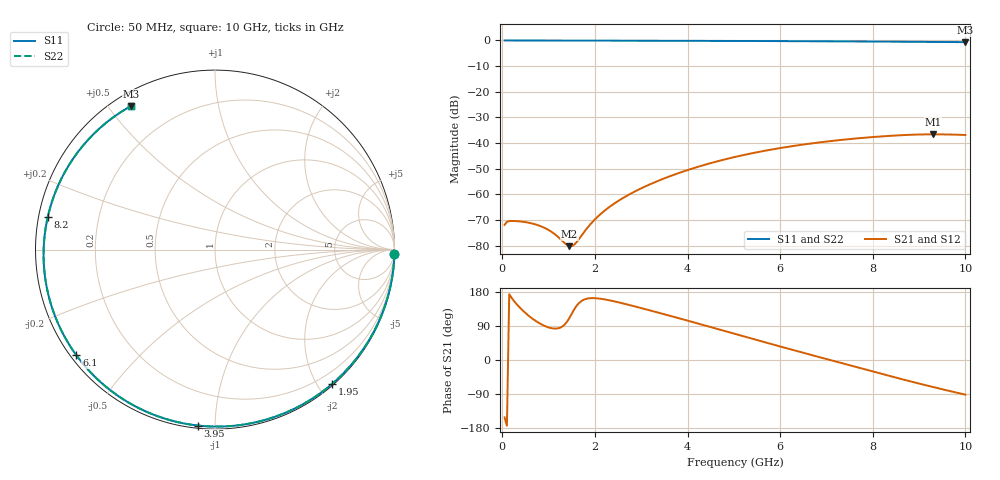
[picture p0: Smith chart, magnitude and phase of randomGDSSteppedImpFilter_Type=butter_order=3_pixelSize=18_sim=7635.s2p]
! freq	dB(S11)	phase(S11)	dB(S12)	phase(S12)
!  dB(S21)	phase(S21)	dB(S22)	phase(S22)
!S-par simulation data
#  GHz  S  DB  R 50
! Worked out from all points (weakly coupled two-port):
!   200 points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, 50 MHz to 10 GHz, reference 50 ohm
!   highest |S21| = -36.62 dB at 9.3 GHz (marker M1); lowest = -80.2 dB at 1.45 GHz (marker M2)
!   lowest |S11| = -0.7 dB at 10 GHz (marker M3), VSWR 26.32, Z = 2.53 + j28.7 ohm
!   |S11| at or under -10 dB: nowhere
!   |S22| runs from -0.7 to 0.0 dB; largest |S21 - S12| = 0
!   S11 on the Smith chart (normalised r, x): 50 MHz: 0, -89; 1.95 GHz: 0.02, -2.20; 3.95 GHz: 0.01, -0.91; 6.1 GHz: 0.02, -0.34; 8.2 GHz: 0.03, +0.10; 10 GHz: 0.05, +0.57
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0.05  -0.00 -1.3  -71.94 -151.5  -71.94 -151.5  -0.00 -1.3
0.1  -0.00 -2.6  -70.72 -173.7  -70.72 -173.7  -0.00 -2.6
0.2  -0.00 -5.1  -70.41 164.2  -70.41 164.2  -0.00 -5.1
0.75  -0.02 -19.2  -71.94 100.8  -71.94 100.8  -0.02 -19.2
1.05  -0.03 -26.7  -74.50 84.3  -74.50 84.3  -0.03 -26.7
1.4  -0.04 -35.4  -79.82 101.5  -79.82 101.5  -0.04 -35.4
1.45  -0.05 -36.7  -80.25 111.2  -80.25 111.2  -0.05 -36.7
1.55  -0.05 -39.2  -79.70 133.0  -79.70 133.0  -0.05 -39.2
1.75  -0.06 -44.1  -75.13 158.6  -75.13 158.6  -0.06 -44.1
1.95  -0.06 -49.0  -70.74 163.3  -70.74 163.3  -0.06 -49.0
2.2  -0.07 -55.0  -66.53 160.2  -66.53 160.2  -0.07 -55.0
2.55  -0.08 -63.4  -62.07 151.0  -62.07 151.0  -0.08 -63.4
3.4  -0.11 -83.1  -54.51 124.0  -54.51 124.0  -0.11 -83.1
3.95  -0.13 -95.6  -50.87 105.6  -50.87 105.6  -0.13 -95.6
5.05  -0.19 -119.8  -45.34 68.0  -45.34 68.0  -0.19 -119.8
6.1  -0.25 -142.7  -41.68 32.3  -41.68 32.3  -0.25 -142.7
6.7  -0.30 -155.9  -40.11 12.4  -40.11 12.4  -0.30 -155.9
7.45  -0.37 -173.0  -38.55 -12.1  -38.55 -12.1  -0.37 -173.0
8.2  -0.45 169.1  -37.42 -36.7  -37.42 -36.7  -0.45 169.1
8.35  -0.47 165.4  -37.23 -41.6  -37.23 -41.6  -0.47 165.4
9.3  -0.58 140.4  -36.62 -71.3  -36.62 -71.3  -0.58 140.4
10  -0.66 120.2  -36.87 -91.5  -36.87 -91.5  -0.66 120.2
